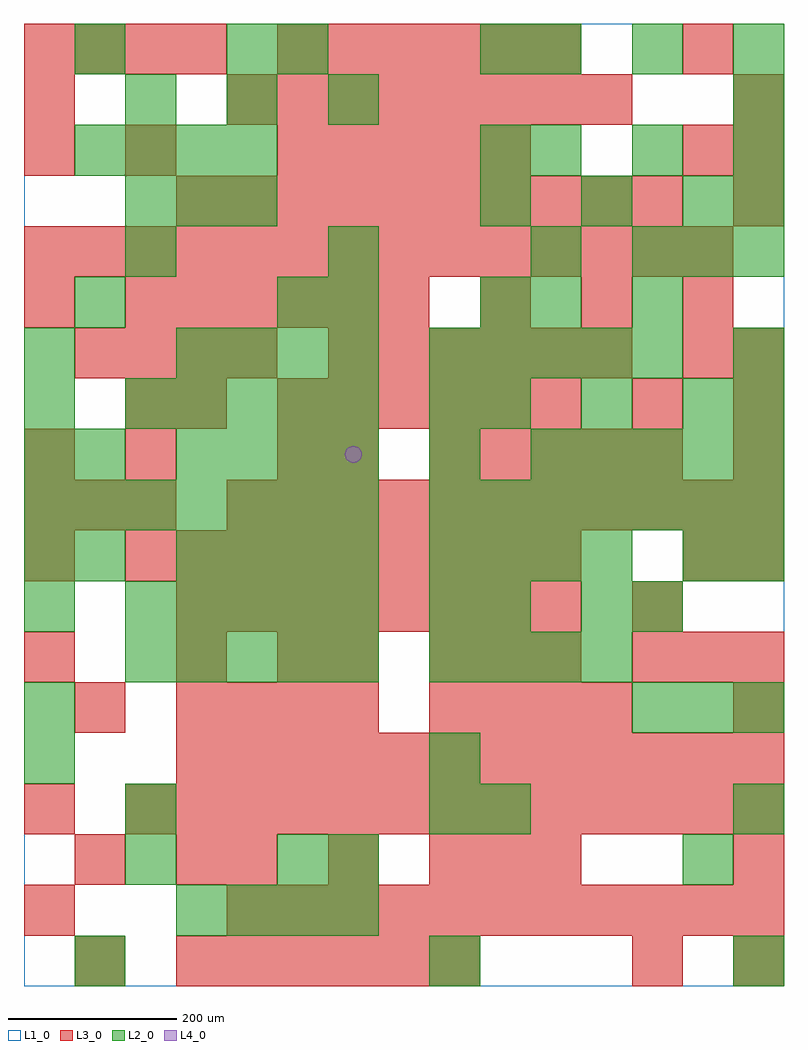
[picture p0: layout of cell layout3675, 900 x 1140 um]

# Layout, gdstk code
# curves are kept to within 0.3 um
import gdstk
lib = gdstk.Library(unit=1e-6, precision=1e-09)
def R(c, l, rs):  # rectangles x0, y0, x1, y1
    for r in rs: c.add(gdstk.rectangle(r[:2], r[2:], *l))
def A(c, l, x, y, w, h, nx, ny, dx, dy):  # array of equal rectangles
    R(c, l, [(x+i*dx, y+j*dy, x+i*dx+w, y+j*dy+h) for i in range(nx) for j in range(ny)])
def P(c, l, *ps):  # polygons
    for p in ps: c.add(gdstk.Polygon(p, *l))
L1_0 = (1, 0)
L2_0 = (2, 0)
L3_0 = (3, 0)
L4_0 = (4, 0)

layout3675 = lib.new_cell('layout3675')
R(layout3675, L1_0, [(0,0,900,1140)])
A(layout3675, L2_0, 180, 60, 60, 60, 4, 2, 60, 420)
A(layout3675, L2_0, 480, 240, 60, 60, 1, 3, 0, 180)
A(layout3675, L2_0, 720, 300, 60, 60, 3, 2, 60, 540)
A(layout3675, L2_0, 120, 360, 60, 60, 5, 2, 60, 60)
A(layout3675, L2_0, 480, 360, 60, 60, 4, 2, 60, 120)
A(layout3675, L2_0, 0, 540, 60, 60, 7, 1, 60, 0)
A(layout3675, L2_0, 480, 540, 60, 60, 7, 1, 60, 0)
A(layout3675, L2_0, 0, 600, 60, 60, 1, 3, 0, 60)
A(layout3675, L2_0, 180, 600, 60, 60, 4, 2, 60, 120)
A(layout3675, L2_0, 600, 600, 60, 60, 5, 1, 60, 0)
A(layout3675, L2_0, 120, 660, 60, 60, 5, 1, 60, 0)
A(layout3675, L2_0, 540, 660, 60, 60, 3, 2, 120, 240)
A(layout3675, L2_0, 480, 720, 60, 60, 5, 1, 60, 0)
A(layout3675, L2_0, 120, 840, 60, 60, 3, 1, 240, 0)
A(layout3675, L2_0, 120, 900, 60, 60, 3, 1, 60, 0)
A(layout3675, L2_0, 60, 960, 60, 60, 4, 1, 60, 0)
A(layout3675, L2_0, 600, 960, 60, 60, 3, 2, 120, 120)
A(layout3675, L2_0, 120, 1020, 60, 60, 3, 1, 120, 0)
R(layout3675, L2_0, [(60,0,120,60), (480,0,540,60), (840,0,900,60), (120,120,180,180), (300,120,360,180), (360,120,420,180), (780,120,840,180), (120,180,180,240), (480,180,540,240), (540,180,600,240), (840,180,900,240), (0,240,60,300), (0,300,60,360), (0,420,60,480), (540,420,600,480), (660,420,720,480), (720,420,780,480), (0,480,60,540), (60,480,120,540), (780,480,840,540), (840,480,900,540), (60,600,120,660), (480,660,540,720), (840,660,900,720), (840,720,900,780), (60,780,120,840), (300,780,360,840), (360,780,420,840), (540,780,600,840), (600,780,660,840), (720,780,780,840), (840,900,900,960), (540,960,600,1020), (840,1020,900,1080), (60,1080,120,1140), (240,1080,300,1140), (300,1080,360,1140), (540,1080,600,1140)])
A(layout3675, L3_0, 180, 0, 60, 60, 6, 1, 60, 0)
A(layout3675, L3_0, 240, 60, 60, 60, 11, 2, 60, 480)
A(layout3675, L3_0, 240, 120, 60, 60, 3, 1, 120, 0)
A(layout3675, L3_0, 840, 120, 60, 60, 1, 3, 0, 180)
A(layout3675, L3_0, 120, 180, 60, 60, 13, 1, 60, 0)
A(layout3675, L3_0, 180, 240, 60, 60, 12, 1, 60, 0)
A(layout3675, L3_0, 180, 300, 60, 60, 4, 1, 60, 0)
A(layout3675, L3_0, 480, 300, 60, 60, 4, 1, 60, 0)
A(layout3675, L3_0, 0, 360, 60, 60, 1, 3, 0, 120)
A(layout3675, L3_0, 480, 360, 60, 60, 3, 1, 60, 0)
A(layout3675, L3_0, 720, 360, 60, 60, 3, 1, 60, 0)
A(layout3675, L3_0, 180, 420, 60, 60, 8, 1, 60, 0)
A(layout3675, L3_0, 120, 480, 60, 60, 9, 1, 60, 0)
A(layout3675, L3_0, 780, 480, 60, 60, 1, 3, 0, 240)
A(layout3675, L3_0, 0, 540, 60, 60, 3, 1, 60, 0)
A(layout3675, L3_0, 480, 600, 60, 60, 5, 1, 60, 0)
A(layout3675, L3_0, 840, 600, 60, 60, 1, 3, 0, 60)
A(layout3675, L3_0, 300, 660, 60, 60, 6, 2, 60, 420)
A(layout3675, L3_0, 60, 720, 60, 60, 4, 1, 60, 0)
A(layout3675, L3_0, 360, 720, 60, 60, 6, 1, 60, 0)
A(layout3675, L3_0, 120, 780, 60, 60, 6, 1, 60, 0)
A(layout3675, L3_0, 540, 780, 60, 60, 3, 1, 120, 0)
A(layout3675, L3_0, 0, 840, 60, 60, 14, 1, 60, 0)
A(layout3675, L3_0, 180, 900, 60, 60, 10, 1, 60, 0)
A(layout3675, L3_0, 840, 900, 60, 60, 1, 3, 0, 60)
A(layout3675, L3_0, 300, 960, 60, 60, 5, 1, 60, 0)
A(layout3675, L3_0, 240, 1020, 60, 60, 8, 1, 60, 0)
A(layout3675, L3_0, 0, 1080, 60, 60, 4, 1, 60, 0)
R(layout3675, L3_0, [(60,0,120,60), (720,0,780,60), (840,0,900,60), (0,60,60,120), (60,120,120,180), (180,120,240,180), (540,120,600,180), (600,120,660,180), (0,180,60,240), (60,300,120,360), (180,360,240,420), (300,360,360,420), (360,360,420,420), (720,420,780,480), (120,600,180,660), (300,600,360,660), (360,600,420,660), (120,660,180,720), (180,660,240,720), (720,660,780,720), (0,780,60,840), (0,960,60,1020), (120,960,180,1020), (0,1020,60,1080), (780,1080,840,1140)])
P(layout3675, L4_0, [(400,630),(399.239,633.827),(397.071,637.071),(393.827,639.239),(390,640),(386.173,639.239),(382.929,637.071),(380.761,633.827),(380,630),(380.761,626.173),(382.929,622.929),(386.173,620.761),(390,620),(393.827,620.761),(397.071,622.929),(399.239,626.173)])

lib.write_gds('layout3675.gds')
